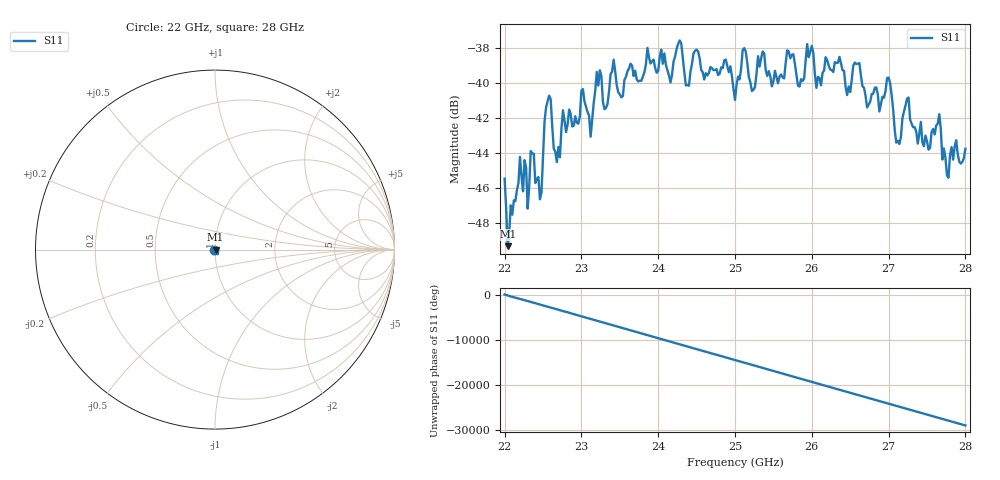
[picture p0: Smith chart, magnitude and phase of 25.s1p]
#  HZ  S  RI  R  50.00
! Rohde & Schwarz ZVA40 4Ports - Version 3.90 - 1145.1110k42 SN: 100403
! Date: 2023-10-04 06:04:43
! Measurement: S12
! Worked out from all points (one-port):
!   301 points, 22 GHz to 28 GHz, reference 50 ohm
!   lowest |S11| = -49.4 dB at 22.04 GHz (marker M1), VSWR 1.01, Z = 50.3 - j0.125 ohm
!   |S11| at or under -10 dB: start of sweep to end of sweep
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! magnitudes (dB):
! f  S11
! 22 GHz  -45.5
! 22.04 GHz  -49.4
! 22.2 GHz  -44.2
! 22.3 GHz  -47.2
! 22.34 GHz  -43.9
! 22.46 GHz  -46.7
! 22.56 GHz  -41.0
! 22.68 GHz  -44.5
! 22.76 GHz  -41.6
! 23.02 GHz  -40.3
! 23.12 GHz  -43.1
! 23.2 GHz  -39.4
! 23.3 GHz  -41.5
! 23.42 GHz  -38.7
! 23.5 GHz  -40.6
! 24.26 GHz  -37.7
! 25 GHz  -41.0
! 25.12 GHz  -38.0
! 25.22 GHz  -40.4
! 25.76 GHz  -38.3
! 26.5 GHz  -40.5
! 27 GHz  -39.7
! 27.14 GHz  -43.5
! 27.26 GHz  -40.8
! 27.52 GHz  -43.8
! 27.66 GHz  -41.8
! 27.78 GHz  -45.4
! 28 GHz  -43.8
